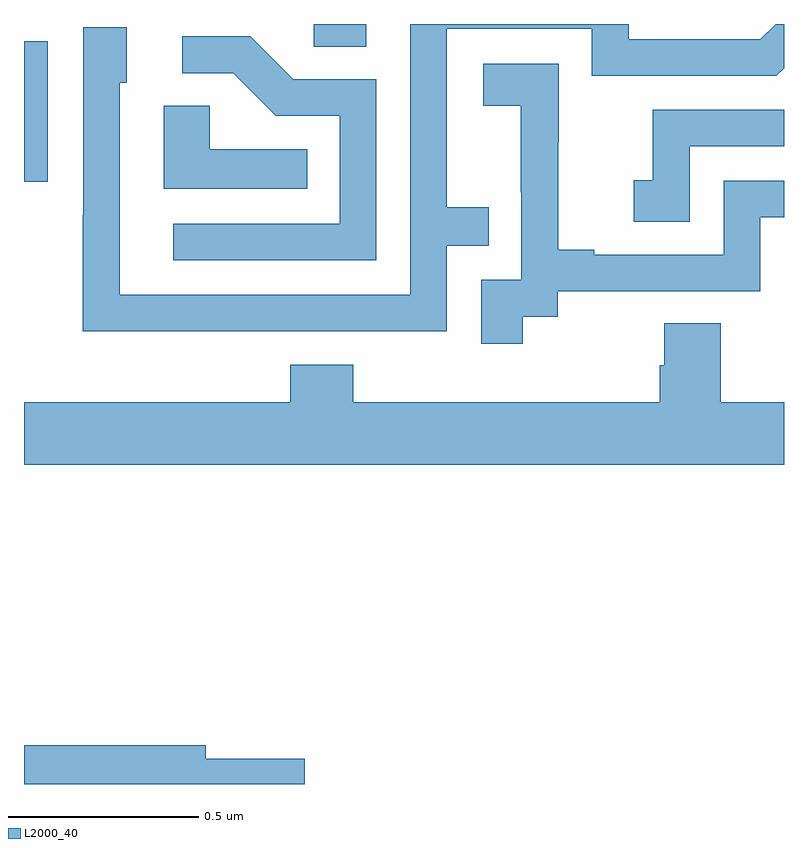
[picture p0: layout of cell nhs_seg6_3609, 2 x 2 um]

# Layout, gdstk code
import gdstk
lib = gdstk.Library(unit=1e-6, precision=1e-09)
def R(c, l, rs):  # rectangles x0, y0, x1, y1
    for r in rs: c.add(gdstk.rectangle(r[:2], r[2:], *l))
def P(c, l, *ps):  # polygons
    for p in ps: c.add(gdstk.Polygon(p, *l))
L2000_40 = (2000, 40)

nhs_seg6_3609 = lib.new_cell('nhs_seg6_3609')
R(nhs_seg6_3609, L2000_40, [(159,944.085,159.063,944.454), (159.762,944.44,159.901,944.5)])
P(nhs_seg6_3609, L2000_40, [(159.617,943.692),(160.113,943.692),(160.113,943.917),(160.223,943.917),(160.223,944.018),(160.113,944.018),(160.113,944.487),(160.494,944.487),(160.494,944.364),(160.98,944.364),(161,944.384),(161,944.5),(160.978,944.5),(160.938,944.46),(160.591,944.46),(160.591,944.5),(160.017,944.5),(160.017,943.788),(159.252,943.788),(159.252,944.346),(159.271,944.346),(159.271,944.491),(159.156,944.491),(159.156,943.997),(159.154,943.997),(159.154,943.691),(159.617,943.691)],
  [(159.927,944.355),(159.708,944.355),(159.595,944.468),(159.417,944.468),(159.417,944.37),(159.551,944.37),(159.662,944.259),(159.831,944.259),(159.831,943.974),(159.393,943.974),(159.393,943.878),(159.927,943.878)],
  [(160.312,943.729),(160.404,943.729),(160.404,943.797),(160.938,943.797),(160.938,943.992),(161,943.992),(161,944.088),(160.842,944.088),(160.842,943.893),(160.501,943.893),(160.501,943.906),(160.406,943.906),(160.406,944.189),(160.407,944.189),(160.407,944.395),(160.209,944.395),(160.209,944.285),(160.307,944.285),(160.307,944.057),(160.308,944.057),(160.308,943.827),(160.203,943.827),(160.203,943.659),(160.312,943.659)],
  [(159.746,944.17),(159.489,944.17),(159.489,944.285),(159.368,944.285),(159.368,944.066),(159.746,944.066)],
  [(160.752,944.178),(161,944.178),(161,944.274),(160.654,944.274),(160.654,944.089),(160.605,944.089),(160.605,943.98),(160.752,943.98)],
  [(161,943.504),(160.833,943.504),(160.833,943.712),(160.685,943.712),(160.685,943.602),(160.673,943.602),(160.673,943.504),(159.866,943.504),(159.866,943.603),(159.701,943.603),(159.701,943.504),(159,943.504),(159,943.34),(161,943.34)],
  [(159.739,942.566),(159.478,942.566),(159.478,942.602),(159,942.602),(159,942.5),(159.739,942.5)])

lib.write_gds('nhs_seg6_3609.gds')
